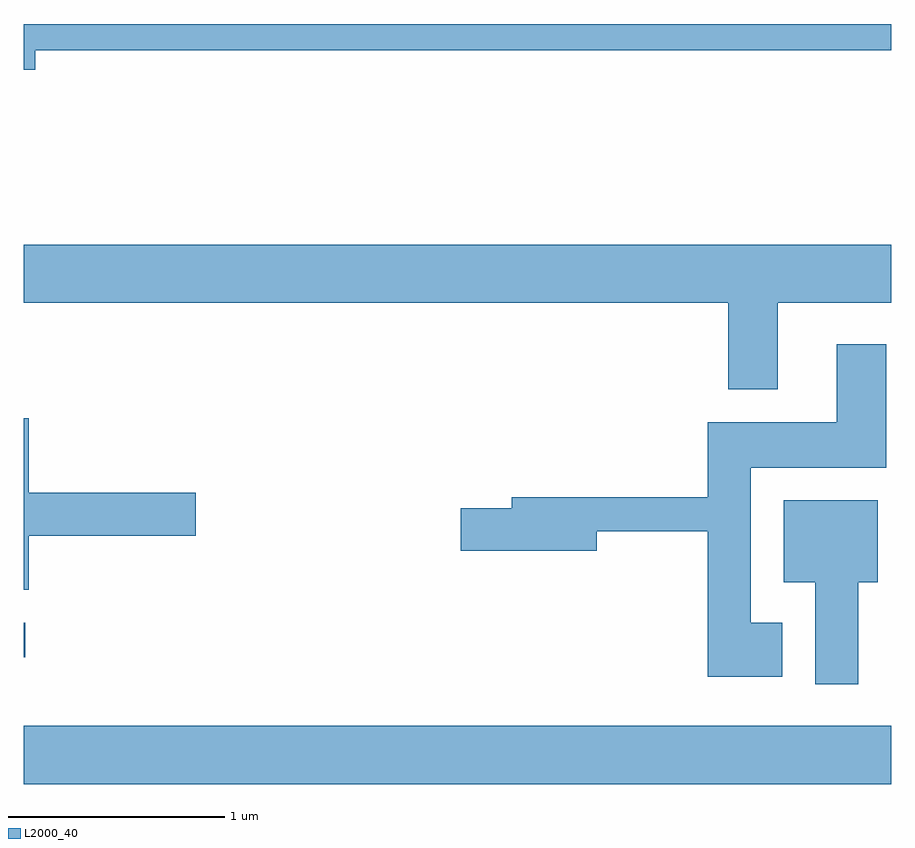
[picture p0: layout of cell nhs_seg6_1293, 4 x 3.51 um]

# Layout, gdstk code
import gdstk
lib = gdstk.Library(unit=1e-6, precision=1e-09)
def R(c, l, rs):  # rectangles x0, y0, x1, y1
    for r in rs: c.add(gdstk.rectangle(r[:2], r[2:], *l))
def P(c, l, *ps):  # polygons
    for p in ps: c.add(gdstk.Polygon(p, *l))
L2000_40 = (2000, 40)

nhs_seg6_1293 = lib.new_cell('nhs_seg6_1293')
R(nhs_seg6_1293, L2000_40, [(223.611,1596.656,227.611,1596.924), (223.611,1597.241,223.618,1597.399)])
P(nhs_seg6_1293, L2000_40, [(223.664,1600.041),(227.611,1600.041),(227.611,1600.162),(223.611,1600.162),(223.611,1599.951),(223.664,1599.951)],
  [(227.089,1598.876),(227.611,1598.876),(227.611,1599.144),(223.611,1599.144),(223.611,1598.876),(226.861,1598.876),(226.861,1598.476),(227.089,1598.476)],
  [(227.109,1597.399),(226.964,1597.399),(226.964,1598.116),(227.589,1598.116),(227.589,1598.684),(227.361,1598.684),(227.361,1598.324),(226.766,1598.324),(226.766,1597.979),(225.861,1597.979),(225.861,1597.929),(225.626,1597.929),(225.626,1597.731),(226.254,1597.731),(226.254,1597.821),(226.766,1597.821),(226.766,1597.151),(227.109,1597.151)],
  [(223.634,1597.801),(224.404,1597.801),(224.404,1597.999),(223.634,1597.999),(223.634,1598.344),(223.611,1598.344),(223.611,1597.551),(223.634,1597.551)],
  [(227.459,1597.586),(227.549,1597.586),(227.549,1597.964),(227.116,1597.964),(227.116,1597.586),(227.261,1597.586),(227.261,1597.116),(227.459,1597.116)])

lib.write_gds('nhs_seg6_1293.gds')
